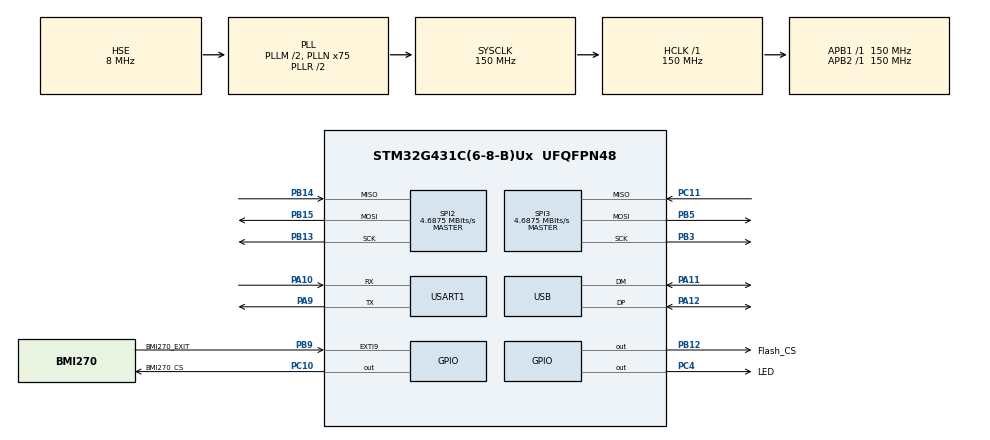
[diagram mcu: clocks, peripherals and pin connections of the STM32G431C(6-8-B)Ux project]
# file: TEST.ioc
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Mcu.Family=STM32G4
Mcu.Name=STM32G431C(6-8-B)Ux
Mcu.Package=UFQFPN48
NVIC.PriorityGroup=NVIC_PRIORITYGROUP_4
NVIC.USB_LP_IRQn=true\:0\:0\:false\:false\:true\:false\:true\:true
PA10.Mode=Asynchronous
PA10.Signal=USART1_RX
PA11.Mode=Device
PA11.Signal=USB_DM
PA12.Mode=Device
PA12.Signal=USB_DP
PA13.Mode=Serial_Wire
PA13.Signal=SYS_JTMS-SWDIO
PA14.Mode=Serial_Wire
PA14.Signal=SYS_JTCK-SWCLK
PA9.Mode=Asynchronous
PA9.Signal=USART1_TX
PB12.GPIO_Label=Flash_CS
PB12.GPIO_Speed=GPIO_SPEED_FREQ_VERY_HIGH
PB12.PinState=GPIO_PIN_SET
PB12.Signal=GPIO_Output
PB13.Mode=Full_Duplex_Master
PB13.Signal=SPI2_SCK
PB14.Mode=Full_Duplex_Master
PB14.Signal=SPI2_MISO
PB15.Mode=Full_Duplex_Master
PB15.Signal=SPI2_MOSI
PB3.Mode=Full_Duplex_Master
PB3.Signal=SPI3_SCK
PB5.Mode=Full_Duplex_Master
PB5.Signal=SPI3_MOSI
PB9.GPIO_Label=BMI270_EXIT
PB9.Signal=GPXTI9
PC10.GPIO_Label=BMI270_CS
PC10.GPIO_Speed=GPIO_SPEED_FREQ_VERY_HIGH
PC10.PinState=GPIO_PIN_SET
PC10.Signal=GPIO_Output
PC11.Mode=Full_Duplex_Master
PC11.Signal=SPI3_MISO
PC4.GPIO_Label=LED
PC4.GPIO_Speed=GPIO_SPEED_FREQ_VERY_HIGH
PC4.PinState=GPIO_PIN_SET
PC4.Signal=GPIO_Output
PF0-OSC_IN.Mode=HSE-External-Oscillator
PF0-OSC_IN.Signal=RCC_OSC_IN
PF1-OSC_OUT.Mode=HSE-External-Oscillator
PF1-OSC_OUT.Signal=RCC_OSC_OUT
ProjectManager.HeapSize=0x200
ProjectManager.StackSize=0x400
ProjectManager.TargetToolchain=MDK-ARM V5.32
RCC.ADC12Freq_Value=150000000
RCC.AHBFreq_Value=150000000
RCC.APB1Freq_Value=150000000
RCC.APB1TimFreq_Value=150000000
RCC.APB2Freq_Value=150000000
RCC.APB2TimFreq_Value=150000000
RCC.CK48CLockSelection=RCC_USBCLKSOURCE_HSI48
RCC.CortexFreq_Value=150000000
RCC.EXTERNAL_CLOCK_VALUE=12288000
RCC.HCLKFreq_Value=150000000
RCC.HSE_VALUE=8000000
RCC.HSI48_VALUE=48000000
RCC.HSI_VALUE=16000000
RCC.LSE_VALUE=32768
RCC.PLLM=RCC_PLLM_DIV2
RCC.PLLN=75
RCC.PLLSourceVirtual=RCC_PLLSOURCE_HSE
RCC.SYSCLKFreq_VALUE=150000000
RCC.SYSCLKSource=RCC_SYSCLKSOURCE_PLLCLK
RCC.USBFreq_Value=48000000
RCC.VCOOutputFreq_Value=300000000
SPI2.BaudRatePrescaler=SPI_BAUDRATEPRESCALER_32
SPI2.CalculateBaudRate=4.6875 MBits/s
SPI2.DataSize=SPI_DATASIZE_8BIT
SPI2.Direction=SPI_DIRECTION_2LINES
SPI2.Mode=SPI_MODE_MASTER
SPI2.VirtualType=VM_MASTER
SPI3.BaudRatePrescaler=SPI_BAUDRATEPRESCALER_32
SPI3.CLKPhase=SPI_PHASE_2EDGE
SPI3.CLKPolarity=SPI_POLARITY_HIGH
SPI3.CalculateBaudRate=4.6875 MBits/s
SPI3.DataSize=SPI_DATASIZE_8BIT
SPI3.Direction=SPI_DIRECTION_2LINES
SPI3.Mode=SPI_MODE_MASTER
SPI3.VirtualType=VM_MASTER
USART1.VirtualMode-Asynchronous=VM_ASYNC
USB_DEVICE.CLASS_NAME_FS=CDC
USB_DEVICE.MANUFACTURER_STRING=Emotion_Thorn
USB_DEVICE.PRODUCT_STRING_CDC_FS=AfflatusVirtual ComPort
USB_DEVICE.VirtualMode=Cdc
USB_DEVICE.VirtualModeFS=Cdc_FS
VP_SYS_VS_DBSignals.Mode=DisableDeadBatterySignals
VP_USB_DEVICE_VS_USB_DEVICE_CDC_FS.Mode=CDC_FS
board=custom

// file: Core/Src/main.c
/* USER CODE BEGIN Header */
/**
  ******************************************************************************
  * @file           : main.c
  * @brief          : Main program body
  ******************************************************************************
  * @attention
  *
  * Copyright (c) 2023 STMicroelectronics.
  * All rights reserved.
  *
  * This software is licensed under terms that can be found in the LICENSE file
  * in the root directory of this software component.
  * If no LICENSE file comes with this software, it is provided AS-IS.
  *
  ******************************************************************************
  */
/* USER CODE END Header */
#include "main.h"
#include "spi.h"
#include "usart.h"
#include "usb_device.h"
#include "gpio.h"

/* USER CODE BEGIN Includes */
#include <stdio.h>
#include "W25Qxx.h"
#include "bmi270.h"
/* USER CODE END Includes */

void SystemClock_Config(void);

int main(void)
{
  /* USER CODE BEGIN 1 */
	uint16_t id16=0;
	uint8_t id8=0,Flag=0,BMI270=0;
  /* USER CODE END 1 */

  /* MCU Configuration--------------------------------------------------------*/

  /* Reset of all peripherals, Initializes the Flash interface and the Systick. */
  HAL_Init();

  /* Configure the system clock */
  SystemClock_Config();

  /* Initialize all configured peripherals */
  MX_GPIO_Init();
  MX_SPI2_Init();
  MX_SPI3_Init();
  MX_USART1_UART_Init();
  MX_USB_Device_Init();
  /* USER CODE BEGIN 2 */
printf("test\r\n");
  W25Qx_Read_ID_16(&id16);
  W25Qx_Read_ID_8(&id8);
	BMI270_ReadId(&BMI270);
  if(id8==0x17 && id16==0xEF17 && BMI270==0x24)
	  Flag=0;
  else
	  Flag=1;
  /* USER CODE END 2 */

  /* Infinite loop */
  /* USER CODE BEGIN WHILE */
  while (1)
  {
	 if(Flag==0)
	  {
			printf("Flash_Id_8:%X, Flash_Id_16:%X\r\n",id8,id16);
			printf("BMI270_ID:0x%x\r\n",BMI270);
		  HAL_GPIO_TogglePin(GPIOC,GPIO_PIN_4);
		  HAL_Delay(500);
	  }

    /* USER CODE END WHILE */

  }
}

void SystemClock_Config(void)
{
  RCC_OscInitTypeDef RCC_OscInitStruct = {0};
  RCC_ClkInitTypeDef RCC_ClkInitStruct = {0};

  /** Configure the main internal regulator output voltage
  */
  HAL_PWREx_ControlVoltageScaling(PWR_REGULATOR_VOLTAGE_SCALE1);

  /** Initializes the RCC Oscillators according to the specified parameters
  * in the RCC_OscInitTypeDef structure.
  */
  RCC_OscInitStruct.OscillatorType = RCC_OSCILLATORTYPE_HSI48|RCC_OSCILLATORTYPE_HSE;
  RCC_OscInitStruct.HSEState = RCC_HSE_ON;
  RCC_OscInitStruct.HSI48State = RCC_HSI48_ON;
  RCC_OscInitStruct.PLL.PLLState = RCC_PLL_ON;
  RCC_OscInitStruct.PLL.PLLSource = RCC_PLLSOURCE_HSE;
  RCC_OscInitStruct.PLL.PLLM = RCC_PLLM_DIV2;
  RCC_OscInitStruct.PLL.PLLN = 75;
  RCC_OscInitStruct.PLL.PLLP = RCC_PLLP_DIV2;
  RCC_OscInitStruct.PLL.PLLQ = RCC_PLLQ_DIV2;
  RCC_OscInitStruct.PLL.PLLR = RCC_PLLR_DIV2;
  if (HAL_RCC_OscConfig(&RCC_OscInitStruct) != HAL_OK)
  {
    Error_Handler();
  }

  /** Initializes the CPU, AHB and APB buses clocks
  */
  RCC_ClkInitStruct.ClockType = RCC_CLOCKTYPE_HCLK|RCC_CLOCKTYPE_SYSCLK
                              |RCC_CLOCKTYPE_PCLK1|RCC_CLOCKTYPE_PCLK2;
  RCC_ClkInitStruct.SYSCLKSource = RCC_SYSCLKSOURCE_PLLCLK;
  RCC_ClkInitStruct.AHBCLKDivider = RCC_SYSCLK_DIV1;
  RCC_ClkInitStruct.APB1CLKDivider = RCC_HCLK_DIV1;
  RCC_ClkInitStruct.APB2CLKDivider = RCC_HCLK_DIV1;

  if (HAL_RCC_ClockConfig(&RCC_ClkInitStruct, FLASH_LATENCY_4) != HAL_OK)
  {
    Error_Handler();
  }
}

void Error_Handler(void)
{
  __disable_irq();
  while (1)
  {
  }
}
